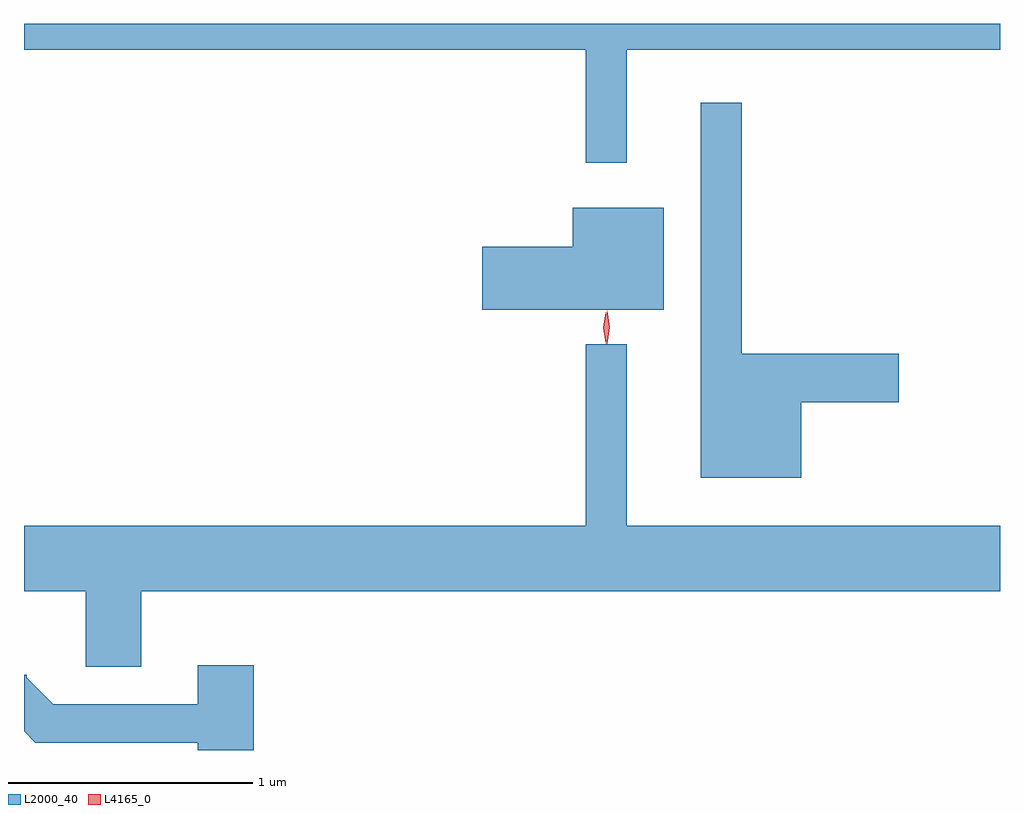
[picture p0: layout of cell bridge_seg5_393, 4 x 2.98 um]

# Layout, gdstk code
import gdstk
lib = gdstk.Library(unit=1e-6, precision=1e-09)
def P(c, l, *ps):  # polygons
    for p in ps: c.add(gdstk.Polygon(p, *l))
L2000_40 = (2000, 40)
L4165_0 = (4165, 0)

bridge_seg5_393 = lib.new_cell('bridge_seg5_393')
P(bridge_seg5_393, L2000_40, [(480.439,1530.056),(481.968,1530.056),(481.968,1530.162),(477.968,1530.162),(477.968,1530.056),(480.271,1530.056),(480.271,1529.593),(480.439,1529.593)],
  [(481.154,1528.611),(481.554,1528.611),(481.554,1528.809),(480.909,1528.809),(480.909,1529.838),(480.741,1529.838),(480.741,1528.301),(481.154,1528.301)],
  [(480.589,1529.409),(480.216,1529.409),(480.216,1529.249),(479.846,1529.249),(479.846,1528.991),(480.589,1528.991)],
  [(478.449,1527.836),(481.968,1527.836),(481.968,1528.104),(480.439,1528.104),(480.439,1528.848),(480.271,1528.848),(480.271,1528.104),(477.968,1528.104),(477.968,1527.836),(478.221,1527.836),(478.221,1527.526),(478.449,1527.526)],
  [(478.909,1527.534),(478.681,1527.534),(478.681,1527.374),(478.087,1527.374),(477.98,1527.481),(477.98,1527.494),(477.968,1527.494),(477.968,1527.262),(478.014,1527.216),(478.681,1527.216),(478.681,1527.185),(478.909,1527.185)])
P(bridge_seg5_393, L4165_0, [(480.352,1528.853),(480.352,1528.853),(480.342,1528.916),(480.352,1528.98),(480.352,1528.98),(480.353,1528.98),(480.362,1528.916),(480.353,1528.853)],
  [(480.357,1528.85),(480.357,1528.85),(480.348,1528.918),(480.358,1528.985),(480.359,1528.986),(480.359,1528.985),(480.368,1528.918),(480.358,1528.85)])

lib.write_gds('bridge_seg5_393.gds')
